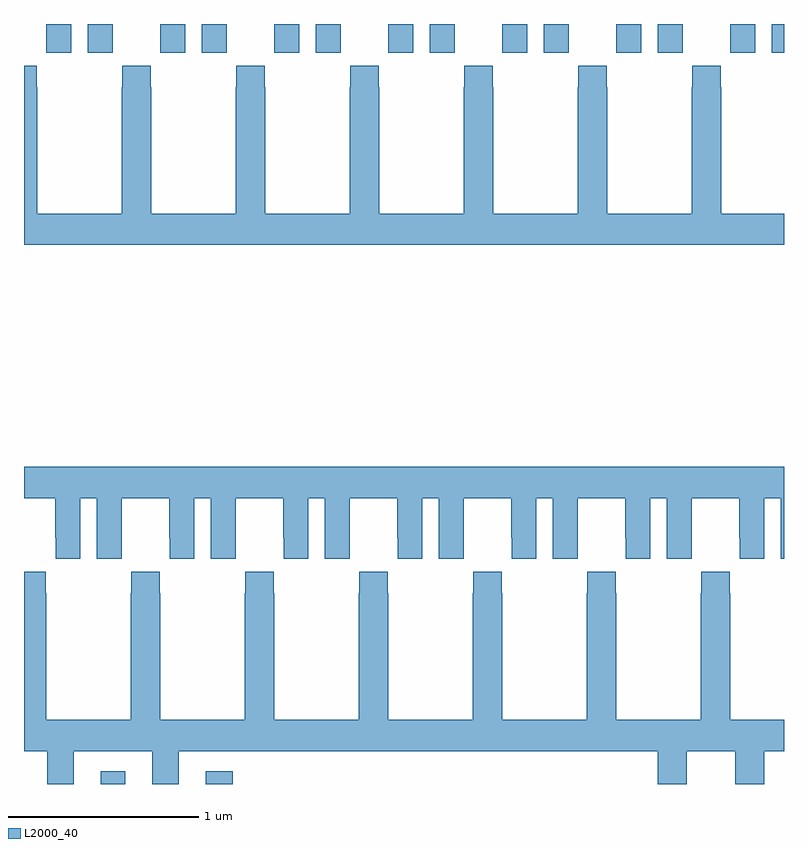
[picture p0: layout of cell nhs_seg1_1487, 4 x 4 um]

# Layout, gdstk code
import gdstk
lib = gdstk.Library(unit=1e-6, precision=1e-09)
def R(c, l, rs):  # rectangles x0, y0, x1, y1
    for r in rs: c.add(gdstk.rectangle(r[:2], r[2:], *l))
def P(c, l, *ps):  # polygons
    for p in ps: c.add(gdstk.Polygon(p, *l))
L2000_40 = (2000, 40)

nhs_seg1_1487 = lib.new_cell('nhs_seg1_1487')
R(nhs_seg1_1487, L2000_40, [(191.405,578.199,191.533,578.266), (191.957,578.199,192.098,578.266), (194.936,582.048,195,582.199)])
P(nhs_seg1_1487, L2000_40, [(191.248,582.199),(191.117,582.199),(191.117,582.16),(191.118,582.16),(191.118,582.048),(191.248,582.048)],
  [(191.466,582.16),(191.467,582.16),(191.467,582.199),(191.336,582.199),(191.336,582.048),(191.466,582.048)],
  [(191.848,582.199),(191.717,582.199),(191.717,582.16),(191.718,582.16),(191.718,582.048),(191.848,582.048)],
  [(192.066,582.16),(192.067,582.16),(192.067,582.199),(191.936,582.199),(191.936,582.048),(192.066,582.048)],
  [(192.448,582.199),(192.317,582.199),(192.317,582.16),(192.318,582.16),(192.318,582.048),(192.448,582.048)],
  [(192.666,582.16),(192.667,582.16),(192.667,582.199),(192.536,582.199),(192.536,582.048),(192.666,582.048)],
  [(193.048,582.199),(192.917,582.199),(192.917,582.16),(192.918,582.16),(192.918,582.048),(193.048,582.048)],
  [(193.266,582.16),(193.267,582.16),(193.267,582.199),(193.136,582.199),(193.136,582.048),(193.266,582.048)],
  [(194.848,582.199),(194.717,582.199),(194.717,582.16),(194.718,582.16),(194.718,582.048),(194.848,582.048)],
  [(194.466,582.16),(194.467,582.16),(194.467,582.199),(194.336,582.199),(194.336,582.048),(194.466,582.048)],
  [(193.648,582.199),(193.517,582.199),(193.517,582.16),(193.518,582.16),(193.518,582.048),(193.648,582.048)],
  [(194.248,582.199),(194.117,582.199),(194.117,582.16),(194.118,582.16),(194.118,582.048),(194.248,582.048)],
  [(193.866,582.16),(193.867,582.16),(193.867,582.199),(193.736,582.199),(193.736,582.048),(193.866,582.048)],
  [(195,581.2),(194.67,581.2),(194.67,581.867),(194.667,581.867),(194.667,581.98),(194.517,581.98),(194.517,581.867),(194.515,581.867),(194.515,581.2),(194.07,581.2),(194.07,581.867),(194.067,581.867),(194.067,581.98),(193.917,581.98),(193.917,581.867),(193.915,581.867),(193.915,581.2),(193.47,581.2),(193.47,581.867),(193.467,581.867),(193.467,581.98),(193.317,581.98),(193.317,581.867),(193.315,581.867),(193.315,581.2),(192.87,581.2),(192.87,581.867),(192.867,581.867),(192.867,581.98),(192.717,581.98),(192.717,581.867),(192.715,581.867),(192.715,581.2),(192.27,581.2),(192.27,581.867),(192.267,581.867),(192.267,581.98),(192.117,581.98),(192.117,581.867),(192.115,581.867),(192.115,581.2),(191.67,581.2),(191.67,581.867),(191.667,581.867),(191.667,581.98),(191.517,581.98),(191.517,581.867),(191.515,581.867),(191.515,581.2),(191.07,581.2),(191.07,581.867),(191.067,581.867),(191.067,581.98),(191,581.98),(191,581.036),(195,581.036)],
  [(191,579.704),(191.165,579.704),(191.165,579.496),(191.166,579.496),(191.166,579.384),(191.296,579.384),(191.296,579.704),(191.384,579.704),(191.384,579.384),(191.514,579.384),(191.514,579.496),(191.515,579.496),(191.515,579.704),(191.765,579.704),(191.765,579.496),(191.766,579.496),(191.766,579.384),(191.896,579.384),(191.896,579.704),(191.984,579.704),(191.984,579.384),(192.114,579.384),(192.114,579.496),(192.115,579.496),(192.115,579.704),(192.365,579.704),(192.365,579.496),(192.366,579.496),(192.366,579.384),(192.496,579.384),(192.496,579.704),(192.584,579.704),(192.584,579.384),(192.714,579.384),(192.714,579.496),(192.715,579.496),(192.715,579.704),(192.965,579.704),(192.965,579.496),(192.966,579.496),(192.966,579.384),(193.096,579.384),(193.096,579.704),(193.184,579.704),(193.184,579.384),(193.314,579.384),(193.314,579.496),(193.315,579.496),(193.315,579.704),(193.565,579.704),(193.565,579.496),(193.566,579.496),(193.566,579.384),(193.696,579.384),(193.696,579.704),(193.784,579.704),(193.784,579.384),(193.914,579.384),(193.914,579.496),(193.915,579.496),(193.915,579.704),(194.165,579.704),(194.165,579.496),(194.166,579.496),(194.166,579.384),(194.296,579.384),(194.296,579.704),(194.384,579.704),(194.384,579.384),(194.514,579.384),(194.514,579.496),(194.515,579.496),(194.515,579.704),(194.765,579.704),(194.765,579.496),(194.766,579.496),(194.766,579.384),(194.896,579.384),(194.896,579.704),(194.984,579.704),(194.984,579.384),(195,579.384),(195,579.868),(191,579.868)],
  [(191.263,578.372),(191.675,578.372),(191.675,578.199),(191.815,578.199),(191.815,578.372),(194.336,578.372),(194.336,578.199),(194.488,578.199),(194.488,578.372),(194.744,578.372),(194.744,578.199),(194.897,578.199),(194.897,578.372),(195,578.372),(195,578.536),(194.718,578.536),(194.718,579.203),(194.715,579.203),(194.715,579.316),(194.565,579.316),(194.565,579.203),(194.563,579.203),(194.563,578.536),(194.118,578.536),(194.118,579.203),(194.115,579.203),(194.115,579.316),(193.965,579.316),(193.965,579.203),(193.963,579.203),(193.963,578.536),(193.518,578.536),(193.518,579.203),(193.515,579.203),(193.515,579.316),(193.365,579.316),(193.365,579.203),(193.363,579.203),(193.363,578.536),(192.918,578.536),(192.918,579.203),(192.915,579.203),(192.915,579.316),(192.765,579.316),(192.765,579.203),(192.763,579.203),(192.763,578.536),(192.318,578.536),(192.318,579.203),(192.315,579.203),(192.315,579.316),(192.165,579.316),(192.165,579.203),(192.163,579.203),(192.163,578.536),(191.718,578.536),(191.718,579.203),(191.715,579.203),(191.715,579.316),(191.565,579.316),(191.565,579.203),(191.563,579.203),(191.563,578.536),(191.118,578.536),(191.118,579.203),(191.115,579.203),(191.115,579.316),(191,579.316),(191,578.372),(191.123,578.372),(191.123,578.199),(191.263,578.199)])

lib.write_gds('nhs_seg1_1487.gds')
